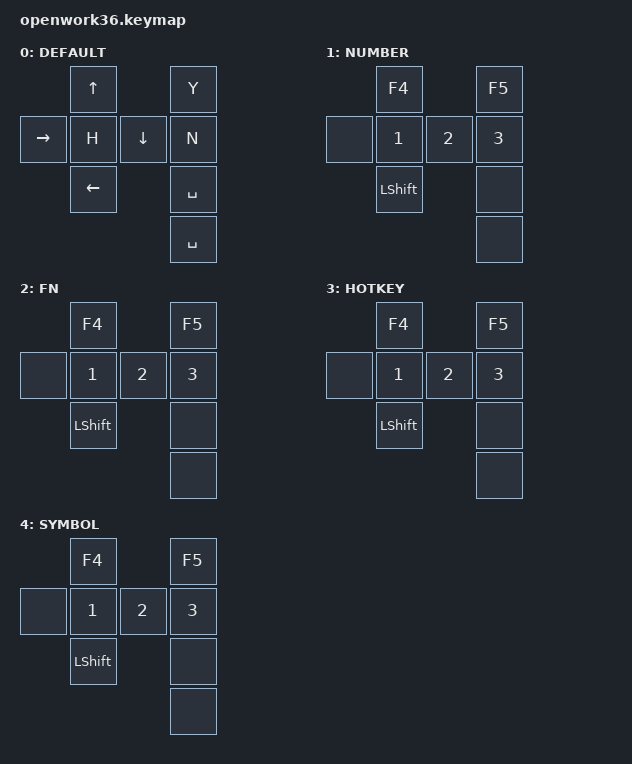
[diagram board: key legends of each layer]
#include <behaviors.dtsi>
#include <dt-bindings/zmk/bt.h>
#include <dt-bindings/zmk/keys.h>
#include <dt-bindings/zmk/outputs.h>

#define DEFAULT 0
#define NUMBER  1
#define FN  2
#define HOTKEY  3
#define SYMBOL  4

#define AS(keycode) &as LS(keycode) keycode

/ {

   

    keymap {
        compatible = "zmk,keymap";

        default_layer {
            label = "DEFAULT";
            bindings = <
                 &kp UP                       &kp Y    
            &kp RIGHT        &kp H     
                 &kp DOWN                     &kp N    
                  &kp LEFT                     &kp SPACE      
                  &kp SPACE                                                                                                           
            >;
        };

        number_layer {
            label = "NUMBER";
            bindings = <
                     &kp F4                       &kp F5  
       &none         &kp N1         &kp N2        &kp N3         
                    &kp LSHFT                     &none      
                                                  &none   
                  
            >;
        };

        fn_layer {
            label = "FN";
            bindings = <
&kp F4                       &kp F5  
       &none         &kp N1         &kp N2        &kp N3         
                    &kp LSHFT                     &none      
                                                  &none   
            >;
        };

        hotkey_layer {
            label = "HOTKEY";
            bindings = <
&kp F4                       &kp F5  
       &none         &kp N1         &kp N2        &kp N3         
                    &kp LSHFT                     &none      
                                                  &none   
            >;
        };

        symbol_layer {
            label = "SYMBOL";
            bindings = <
&kp F4                       &kp F5  
       &none         &kp N1         &kp N2        &kp N3         
                    &kp LSHFT                     &none      
                                                  &none   
            >;
        };
    };
};
